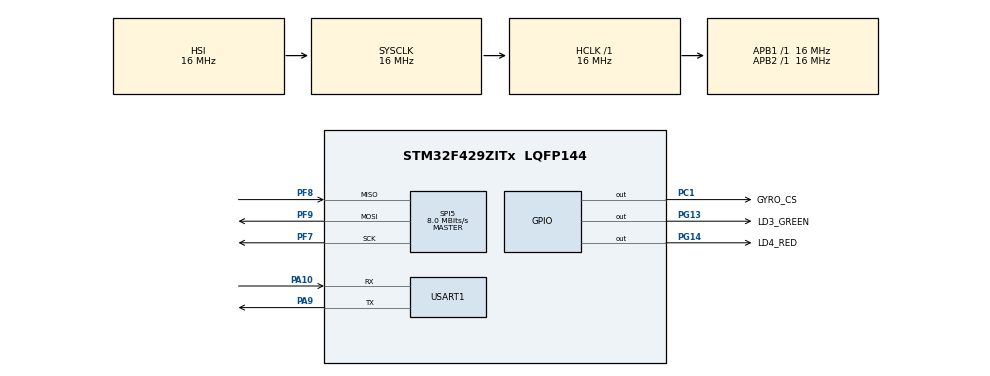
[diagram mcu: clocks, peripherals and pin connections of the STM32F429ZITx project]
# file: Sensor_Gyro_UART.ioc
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Mcu.Family=STM32F4
Mcu.Name=STM32F429ZITx
Mcu.Package=LQFP144
NVIC.PriorityGroup=NVIC_PRIORITYGROUP_4
NVIC.TIM3_IRQn=true\:2\:0\:true\:false\:true\:true\:true\:true
NVIC.USART1_IRQn=true\:1\:0\:true\:false\:true\:true\:true\:true
PA10.Mode=Asynchronous
PA10.Signal=USART1_RX
PA13.Mode=Serial_Wire
PA13.Signal=SYS_JTMS-SWDIO
PA14.Mode=Serial_Wire
PA14.Signal=SYS_JTCK-SWCLK
PA9.Mode=Asynchronous
PA9.Signal=USART1_TX
PC1.GPIO_Label=GYRO_CS
PC1.PinState=GPIO_PIN_SET
PC1.Signal=GPIO_Output
PF7.Mode=Full_Duplex_Master
PF7.Signal=SPI5_SCK
PF8.Mode=Full_Duplex_Master
PF8.Signal=SPI5_MISO
PF9.Mode=Full_Duplex_Master
PF9.Signal=SPI5_MOSI
PG13.GPIO_Label=LD3_GREEN
PG13.Signal=GPIO_Output
PG14.GPIO_Label=LD4_RED
PG14.Signal=GPIO_Output
ProjectManager.HeapSize=0x200
ProjectManager.StackSize=0x400
ProjectManager.TargetToolchain=STM32CubeIDE
RCC.AHBFreq_Value=16000000
RCC.APB1Freq_Value=16000000
RCC.APB2Freq_Value=16000000
RCC.CortexFreq_Value=16000000
RCC.HSE_VALUE=25000000
RCC.HSI_VALUE=16000000
RCC.LSE_VALUE=32768
RCC.SYSCLKFreq_VALUE=16000000
RCC.VCOOutputFreq_Value=192000000
SPI5.CalculateBaudRate=8.0 MBits/s
SPI5.Direction=SPI_DIRECTION_2LINES
SPI5.Mode=SPI_MODE_MASTER
SPI5.VirtualType=VM_MASTER
TIM3.AutoReloadPreload=TIM_AUTORELOAD_PRELOAD_ENABLE
TIM3.Period=999
TIM3.Prescaler=15999
USART1.VirtualMode=VM_ASYNC
VP_TIM3_VS_ClockSourceINT.Mode=Internal
board=custom

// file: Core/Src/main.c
/* USER CODE BEGIN Header */
/**
 ******************************************************************************
 * @file           : main.c
 * @brief          : Main program body
 ******************************************************************************
 * @attention
 *
 * Copyright (c) 2026 STMicroelectronics.
 * All rights reserved.
 *
 * This software is licensed under terms that can be found in the LICENSE file
 * in the root directory of this software component.
 * If no LICENSE file comes with this software, it is provided AS-IS.
 *
 ******************************************************************************
 */
/* USER CODE END Header */
#include "main.h"

/* USER CODE BEGIN Includes */
#include <string.h>
#include <stdbool.h>
#include <stdio.h>
/* USER CODE END Includes */

/* USER CODE BEGIN PD */
#define RX_BUF_SIZE 128
#define LED_DURATION_MS 5000

// Cam bien Gyro L3GD20 | đk thanh ghi
#define L3GD20_WHO_AM_I_ADDR  0x0F
#define L3GD20_CTRL_REG1_ADDR 0x20
#define L3GD20_OUT_X_L_ADDR   0x28

#define SPI_READ_BIT          0x80
#define SPI_MULTIPLE_BIT      0x40
/* USER CODE END PD */

SPI_HandleTypeDef hspi5;

TIM_HandleTypeDef htim3;

UART_HandleTypeDef huart1;

/* USER CODE BEGIN PV */
// Bien UART Rx
uint8_t rx_byte;
char rx_buffer[RX_BUF_SIZE];
volatile uint8_t rx_index = 0;
volatile bool line_ready = false;

// Bien Timer led
uint32_t led_green_start = 0;
bool led_green_active = false;
uint32_t led_red_start = 0;
bool led_red_active = false;

// Bien Hardware Timer
volatile uint32_t uptime_seconds = 0;
volatile bool heartbeat_ready = false;

// Bien Gyro Stream
bool stream_active = false;
uint32_t last_stream_time = 0;
#define STREAM_INTERVAL_MS 200 // Gửi dữ liệu Gyro mỗi 200ms

//String
const char msg_welcome[] = "\r\n--- HW Timer, UART & Gyroscope Ready ---\r\n";
const char msg_done[] = "DONE\r\n";
/* USER CODE END PV */

void SystemClock_Config(void);
static void MX_GPIO_Init(void);
static void MX_SPI5_Init(void);
static void MX_TIM3_Init(void);
static void MX_USART1_UART_Init(void);
/* USER CODE BEGIN PFP */
bool GYRO_Init(void);
void GYRO_ReadXYZ(int16_t *x, int16_t *y, int16_t *z);
/* USER CODE END PFP */

/* USER CODE BEGIN 0 */
/*
 * Cấu hình khởi tạo Cảm biến L3GD20 qua SPI5
 * true nếu tìm thấy cảm biến, false nếu thất bại
 * */
bool GYRO_Init(void) {
	uint8_t tx_data[2];
	uint8_t rx_data[2];

	// 1. Kiem tra WHO_AM_I (Xac nhan ket noi)
	tx_data[0] = L3GD20_WHO_AM_I_ADDR | SPI_READ_BIT; // 0x8F
	tx_data[1] = 0x00; // Dummy byte de tao clock doc

	HAL_GPIO_WritePin(GPIOC, GPIO_PIN_1, GPIO_PIN_RESET); // Keo CS xuong LOW
	HAL_SPI_TransmitReceive(&hspi5, tx_data, rx_data, 2, HAL_MAX_DELAY);
	HAL_GPIO_WritePin(GPIOC, GPIO_PIN_1, GPIO_PIN_SET);   // Keo CS len HIGH

	uint8_t who_am_i = rx_data[1];
	if (who_am_i != 0xD4 && who_am_i != 0xD3) {
		return false; // Khong tim thay L3GD20 hoac I3G4250D
	}

	// 2. Bat nguon va truc XYZ (Ghi vao CTRL_REG1)
	tx_data[0] = L3GD20_CTRL_REG1_ADDR; // Ghi thi khong Set bit 0x80
	tx_data[1] = 0x0F; // PD=1, Xen=1, Yen=1, Zen=1

	HAL_GPIO_WritePin(GPIOC, GPIO_PIN_1, GPIO_PIN_RESET);
	HAL_SPI_Transmit(&hspi5, tx_data, 2, HAL_MAX_DELAY);
	HAL_GPIO_WritePin(GPIOC, GPIO_PIN_1, GPIO_PIN_SET);

	return true;
}

/*
 * Doc 6 byte du lieu tu OUT_X_L den OUT_Z_H
 *
 * */
void GYRO_ReadXYZ(int16_t *x, int16_t *y, int16_t *z) {
	// Dia chi thanh ghi dau tien + Lenh doc + Lenh tu tang (Auto-increment)
	uint8_t tx_cmd = L3GD20_OUT_X_L_ADDR | SPI_READ_BIT | SPI_MULTIPLE_BIT; // 0xE8
	uint8_t rx_buf[7] = { 0 }; // Chua 1 byte rac + 6 byte data

	HAL_GPIO_WritePin(GPIOC, GPIO_PIN_1, GPIO_PIN_RESET);

	// Gui lenh 1 byte
	HAL_SPI_Transmit(&hspi5, &tx_cmd, 1, HAL_MAX_DELAY);
	/* Doc ve 6 byte (khi goi TransmitReceive hay Receive, STM32 tu tao clock) */
	HAL_SPI_Receive(&hspi5, &rx_buf[1], 6, HAL_MAX_DELAY);

	HAL_GPIO_WritePin(GPIOC, GPIO_PIN_1, GPIO_PIN_SET);

	// Ep kieu va ghep byte (So co dau bu 2) */
	*x = (int16_t) ((rx_buf[2] << 8) | rx_buf[1]);
	*y = (int16_t) ((rx_buf[4] << 8) | rx_buf[3]);
	*z = (int16_t) ((rx_buf[6] << 8) | rx_buf[5]);
}
/*
 * Ngat nhan UART (Preemption Priority = 1)
 *
 * */
void HAL_UART_RxCpltCallback(UART_HandleTypeDef *huart) {
	if (huart->Instance == USART1) {
		if (rx_byte == '\r' || rx_byte == '\n') {
			if (rx_index > 0 && !line_ready) {
				rx_buffer[rx_index] = '\0';
				line_ready = true;
			}
		} else {
			if (!line_ready) {
				if (rx_index < (RX_BUF_SIZE - 1)) {
					rx_buffer[rx_index++] = rx_byte;
				} else {
					rx_buffer[RX_BUF_SIZE - 1] = '\0';
					line_ready = true;
				}
			}
		}
		HAL_UART_Receive_IT(&huart1, &rx_byte, 1);
	}
}

/*
 * Ngat Timer 1s (Preemption Priority = 2)
 * */
void HAL_TIM_PeriodElapsedCallback(TIM_HandleTypeDef *htim) {
	if (htim->Instance == TIM3) {
		uptime_seconds++;
		heartbeat_ready = true;
	}
}

/* USER CODE END 0 */

int main(void) {

	/* MCU Configuration--------------------------------------------------------*/

	/* Reset of all peripherals, Initializes the Flash interface and the Systick. */
	HAL_Init();

	/* Configure the system clock */
	SystemClock_Config();

	/* Initialize all configured peripherals */
	MX_GPIO_Init();
	MX_SPI5_Init();
	MX_TIM3_Init();
	MX_USART1_UART_Init();
	/* USER CODE BEGIN 2 */
	// Keo CS len muc cao de cam bien cho lenh
	HAL_GPIO_WritePin(GPIOC, GYRO_CS_Pin, GPIO_PIN_SET);

	// Khoi tao Gyro
	if (!GYRO_Init()) {
		HAL_UART_Transmit(&huart1, (uint8_t*) "Gyro Init FAILED!\r\n", 19,
		HAL_MAX_DELAY);
	}

	HAL_TIM_Base_Start_IT(&htim3);
	HAL_UART_Transmit(&huart1, (uint8_t*) msg_welcome, strlen(msg_welcome),
	HAL_MAX_DELAY);
	HAL_UART_Receive_IT(&huart1, &rx_byte, 1);

	HAL_GPIO_WritePin(GPIOG, LD3_GREEN_Pin, GPIO_PIN_RESET);
	HAL_GPIO_WritePin(GPIOG, LD4_RED_Pin, GPIO_PIN_RESET);

	/* USER CODE END 2 */

	/* Infinite loop */
	/* USER CODE BEGIN WHILE */
	char tx_buf[128];

	while (1) {
		// 1. HEARTBEAT
		if (heartbeat_ready) {
			heartbeat_ready = false;
			snprintf(tx_buf, sizeof(tx_buf), "[HW_TIMER] Uptime: %lu s\r\n",
					uptime_seconds);
			HAL_UART_Transmit(&huart1, (uint8_t*) tx_buf, strlen(tx_buf),
					HAL_MAX_DELAY);
		}

		// 2. TU DONG STREAM GYRO (200ms)
		if (stream_active) {
			if ((HAL_GetTick() - last_stream_time) >= STREAM_INTERVAL_MS) {
				int16_t gx, gy, gz;
				GYRO_ReadXYZ(&gx, &gy, &gz);
				snprintf(tx_buf, sizeof(tx_buf),
						"Stream -> X: %d | Y: %d | Z: %d\r\n", gx, gy, gz);
				HAL_UART_Transmit(&huart1, (uint8_t*) tx_buf, strlen(tx_buf),
						HAL_MAX_DELAY);

				last_stream_time = HAL_GetTick(); // Cập nhật mốc thời gian
			}
		}

		// 3. XU LY LENH TU UART
		if (line_ready) {
			HAL_UART_Transmit(&huart1, (uint8_t*) "Echo: ", 6, HAL_MAX_DELAY);
			HAL_UART_Transmit(&huart1, (uint8_t*) rx_buffer, strlen(rx_buffer),
					HAL_MAX_DELAY);
			HAL_UART_Transmit(&huart1, (uint8_t*) "\r\n", 2, HAL_MAX_DELAY);

			if (strcmp(rx_buffer, "LED_GREEN") == 0) {
				HAL_GPIO_WritePin(GPIOG, LD3_GREEN_Pin, GPIO_PIN_SET);
				led_green_active = true;
				led_green_start = HAL_GetTick();
			} else if (strcmp(rx_buffer, "LED_RED") == 0) {
				HAL_GPIO_WritePin(GPIOG, LD4_RED_Pin, GPIO_PIN_SET);
				led_red_active = true;
				led_red_start = HAL_GetTick();
			} else if (strcmp(rx_buffer, "GET_TIME") == 0) {
				snprintf(tx_buf, sizeof(tx_buf),
						"--> Current Uptime: %lu seconds\r\n", uptime_seconds);
				HAL_UART_Transmit(&huart1, (uint8_t*) tx_buf, strlen(tx_buf),
						HAL_MAX_DELAY);
			} else if (strcmp(rx_buffer, "CHECK_HW") == 0) {
				snprintf(tx_buf, sizeof(tx_buf),
						"--> HW REG: CNT=%lu, PSC=%lu, ARR=%lu\r\n", TIM3->CNT,
						TIM3->PSC, TIM3->ARR);
				HAL_UART_Transmit(&huart1, (uint8_t*) tx_buf, strlen(tx_buf),
						HAL_MAX_DELAY);
			} else if (strcmp(rx_buffer, "GET_GYRO") == 0) {
				int16_t gx, gy, gz;
				GYRO_ReadXYZ(&gx, &gy, &gz);
				snprintf(tx_buf, sizeof(tx_buf),
						"Gyro -> X: %d | Y: %d | Z: %d dps\r\n", gx, gy, gz);
				HAL_UART_Transmit(&huart1, (uint8_t*) tx_buf, strlen(tx_buf),
						HAL_MAX_DELAY);
			} else if (strcmp(rx_buffer, "STREAM_ON") == 0) {
				stream_active = true;
				last_stream_time = HAL_GetTick();
				HAL_UART_Transmit(&huart1, (uint8_t*) "Gyro Stream STARTED\r\n",
						21, HAL_MAX_DELAY);
			} else if (strcmp(rx_buffer, "STREAM_OFF") == 0) {
				stream_active = false;
				HAL_UART_Transmit(&huart1, (uint8_t*) "Gyro Stream STOPPED\r\n",
						21, HAL_MAX_DELAY);
			} else {
				HAL_UART_Transmit(&huart1, (uint8_t*) "Unknown Command\r\n", 17,
						HAL_MAX_DELAY);
			}

			rx_index = 0;
			line_ready = false;
		}

		// 4. QUAN LY THOI GIAN DEN LED (NON-BLOCKING)
		if (led_green_active) {
			if ((HAL_GetTick() - led_green_start) >= LED_DURATION_MS) {
				HAL_GPIO_WritePin(GPIOG, LD3_GREEN_Pin, GPIO_PIN_RESET);
				led_green_active = false;
				HAL_UART_Transmit(&huart1, (uint8_t*) msg_done,
						strlen(msg_done), HAL_MAX_DELAY);
			}
		}

		if (led_red_active) {
			if ((HAL_GetTick() - led_red_start) >= LED_DURATION_MS) {
				HAL_GPIO_WritePin(GPIOG, LD4_RED_Pin, GPIO_PIN_RESET);
				led_red_active = false;
				HAL_UART_Transmit(&huart1, (uint8_t*) msg_done,
						strlen(msg_done), HAL_MAX_DELAY);
			}
		}

		/* USER CODE END WHILE */

	}
}

void SystemClock_Config(void) {
	RCC_OscInitTypeDef RCC_OscInitStruct = { 0 };
	RCC_ClkInitTypeDef RCC_ClkInitStruct = { 0 };

	/** Configure the main internal regulator output voltage
	 */
	__HAL_RCC_PWR_CLK_ENABLE();
	__HAL_PWR_VOLTAGESCALING_CONFIG(PWR_REGULATOR_VOLTAGE_SCALE3);

	/** Initializes the RCC Oscillators according to the specified parameters
	 * in the RCC_OscInitTypeDef structure.
	 */
	RCC_OscInitStruct.OscillatorType = RCC_OSCILLATORTYPE_HSI;
	RCC_OscInitStruct.HSIState = RCC_HSI_ON;
	RCC_OscInitStruct.HSICalibrationValue = RCC_HSICALIBRATION_DEFAULT;
	RCC_OscInitStruct.PLL.PLLState = RCC_PLL_NONE;
	if (HAL_RCC_OscConfig(&RCC_OscInitStruct) != HAL_OK) {
		Error_Handler();
	}

	/** Initializes the CPU, AHB and APB buses clocks
	 */
	RCC_ClkInitStruct.ClockType = RCC_CLOCKTYPE_HCLK | RCC_CLOCKTYPE_SYSCLK
			| RCC_CLOCKTYPE_PCLK1 | RCC_CLOCKTYPE_PCLK2;
	RCC_ClkInitStruct.SYSCLKSource = RCC_SYSCLKSOURCE_HSI;
	RCC_ClkInitStruct.AHBCLKDivider = RCC_SYSCLK_DIV1;
	RCC_ClkInitStruct.APB1CLKDivider = RCC_HCLK_DIV1;
	RCC_ClkInitStruct.APB2CLKDivider = RCC_HCLK_DIV1;

	if (HAL_RCC_ClockConfig(&RCC_ClkInitStruct, FLASH_LATENCY_0) != HAL_OK) {
		Error_Handler();
	}
}

static void MX_SPI5_Init(void) {

	/* SPI5 parameter configuration*/
	hspi5.Instance = SPI5;
	hspi5.Init.Mode = SPI_MODE_MASTER;
	hspi5.Init.Direction = SPI_DIRECTION_2LINES;
	hspi5.Init.DataSize = SPI_DATASIZE_8BIT;
	hspi5.Init.CLKPolarity = SPI_POLARITY_LOW;
	hspi5.Init.CLKPhase = SPI_PHASE_1EDGE;
	hspi5.Init.NSS = SPI_NSS_SOFT;
	hspi5.Init.BaudRatePrescaler = SPI_BAUDRATEPRESCALER_2;
	hspi5.Init.FirstBit = SPI_FIRSTBIT_MSB;
	hspi5.Init.TIMode = SPI_TIMODE_DISABLE;
	hspi5.Init.CRCCalculation = SPI_CRCCALCULATION_DISABLE;
	hspi5.Init.CRCPolynomial = 10;
	if (HAL_SPI_Init(&hspi5) != HAL_OK) {
		Error_Handler();
	}

}

static void MX_TIM3_Init(void) {

	TIM_ClockConfigTypeDef sClockSourceConfig = { 0 };
	TIM_MasterConfigTypeDef sMasterConfig = { 0 };

	htim3.Instance = TIM3;
	htim3.Init.Prescaler = 15999;
	htim3.Init.CounterMode = TIM_COUNTERMODE_UP;
	htim3.Init.Period = 999;
	htim3.Init.ClockDivision = TIM_CLOCKDIVISION_DIV1;
	htim3.Init.AutoReloadPreload = TIM_AUTORELOAD_PRELOAD_ENABLE;
	if (HAL_TIM_Base_Init(&htim3) != HAL_OK) {
		Error_Handler();
	}
	sClockSourceConfig.ClockSource = TIM_CLOCKSOURCE_INTERNAL;
	if (HAL_TIM_ConfigClockSource(&htim3, &sClockSourceConfig) != HAL_OK) {
		Error_Handler();
	}
	sMasterConfig.MasterOutputTrigger = TIM_TRGO_RESET;
	sMasterConfig.MasterSlaveMode = TIM_MASTERSLAVEMODE_DISABLE;
	if (HAL_TIMEx_MasterConfigSynchronization(&htim3, &sMasterConfig)
			!= HAL_OK) {
		Error_Handler();
	}

}

static void MX_USART1_UART_Init(void) {

	huart1.Instance = USART1;
	huart1.Init.BaudRate = 115200;
	huart1.Init.WordLength = UART_WORDLENGTH_8B;
	huart1.Init.StopBits = UART_STOPBITS_1;
	huart1.Init.Parity = UART_PARITY_NONE;
	huart1.Init.Mode = UART_MODE_TX_RX;
	huart1.Init.HwFlowCtl = UART_HWCONTROL_NONE;
	huart1.Init.OverSampling = UART_OVERSAMPLING_16;
	if (HAL_UART_Init(&huart1) != HAL_OK) {
		Error_Handler();
	}

}

static void MX_GPIO_Init(void) {
	GPIO_InitTypeDef GPIO_InitStruct = { 0 };

	/* GPIO Ports Clock Enable */
	__HAL_RCC_GPIOF_CLK_ENABLE();
	__HAL_RCC_GPIOC_CLK_ENABLE();
	__HAL_RCC_GPIOA_CLK_ENABLE();
	__HAL_RCC_GPIOG_CLK_ENABLE();

	/*Configure GPIO pin Output Level */
	HAL_GPIO_WritePin(GYRO_CS_GPIO_Port, GYRO_CS_Pin, GPIO_PIN_SET);

	/*Configure GPIO pin Output Level */
	HAL_GPIO_WritePin(GPIOG, LD3_GREEN_Pin | LD4_RED_Pin, GPIO_PIN_RESET);

	/*Configure GPIO pin : GYRO_CS_Pin */
	GPIO_InitStruct.Pin = GYRO_CS_Pin;
	GPIO_InitStruct.Mode = GPIO_MODE_OUTPUT_PP;
	GPIO_InitStruct.Pull = GPIO_NOPULL;
	GPIO_InitStruct.Speed = GPIO_SPEED_FREQ_LOW;
	HAL_GPIO_Init(GYRO_CS_GPIO_Port, &GPIO_InitStruct);

	/*Configure GPIO pins : LD3_GREEN_Pin LD4_RED_Pin */
	GPIO_InitStruct.Pin = LD3_GREEN_Pin | LD4_RED_Pin;
	GPIO_InitStruct.Mode = GPIO_MODE_OUTPUT_PP;
	GPIO_InitStruct.Pull = GPIO_NOPULL;
	GPIO_InitStruct.Speed = GPIO_SPEED_FREQ_LOW;
	HAL_GPIO_Init(GPIOG, &GPIO_InitStruct);

}

void Error_Handler(void) {
	__disable_irq();
	while (1) {
	}
}
